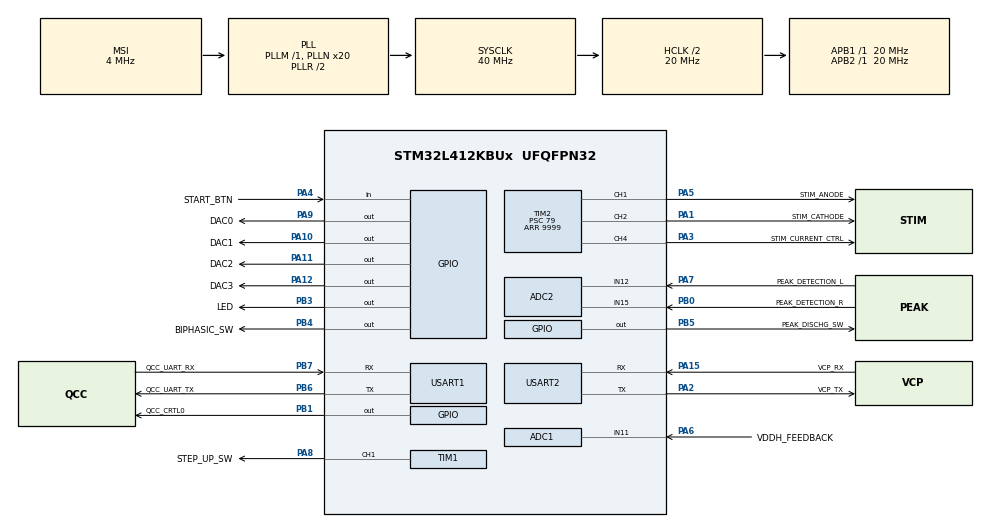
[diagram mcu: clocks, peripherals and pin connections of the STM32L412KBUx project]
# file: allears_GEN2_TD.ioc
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ADC1.AWD1HighThreshold=2600
ADC1.AWD1ITMode=ENABLE
ADC1.Channel-4\#ChannelRegularConversion=ADC_CHANNEL_11
ADC1.ClockPrescaler=ADC_CLOCK_ASYNC_DIV1
ADC1.ContinuousConvMode=ENABLE
ADC1.DMAContinuousRequests=ENABLE
ADC1.EOCSelection=ADC_EOC_SEQ_CONV
ADC1.EnableAnalogWatchDog1=true
ADC1.ExternalTrigConv=ADC_SOFTWARE_START
ADC1.NbrOfConversion=1
ADC1.NbrOfConversionFlag=1
ADC1.Overrun=ADC_OVR_DATA_OVERWRITTEN
ADC1.SamplingTime-4\#ChannelRegularConversion=ADC_SAMPLETIME_47CYCLES_5
ADC1.WatchdogChannel=ADC_CHANNEL_11
ADC1.master=1
ADC2.Channel-0\#ChannelRegularConversion=ADC_CHANNEL_12
ADC2.Channel-1\#ChannelRegularConversion=ADC_CHANNEL_15
ADC2.ContinuousConvMode=ENABLE
ADC2.DMAContinuousRequests=DISABLE
ADC2.EOCSelection=ADC_EOC_SEQ_CONV
ADC2.ExternalTrigConv=ADC_EXTERNALTRIG_T2_TRGO
ADC2.ExternalTrigConvEdge=ADC_EXTERNALTRIGCONVEDGE_FALLING
ADC2.NbrOfConversion=2
ADC2.NbrOfConversionFlag=1
ADC2.OffsetNumber-0\#ChannelRegularConversion=ADC_OFFSET_NONE
ADC2.OffsetNumber-1\#ChannelRegularConversion=ADC_OFFSET_NONE
ADC2.Overrun=ADC_OVR_DATA_PRESERVED
ADC2.Rank-0\#ChannelRegularConversion=1
ADC2.Rank-1\#ChannelRegularConversion=2
ADC2.SamplingTime-0\#ChannelRegularConversion=ADC_SAMPLETIME_247CYCLES_5
ADC2.SamplingTime-1\#ChannelRegularConversion=ADC_SAMPLETIME_247CYCLES_5
Dma.ADC1.2.Direction=DMA_PERIPH_TO_MEMORY
Dma.ADC1.2.Instance=DMA1_Channel1
Dma.ADC1.2.MemDataAlignment=DMA_MDATAALIGN_HALFWORD
Dma.ADC1.2.MemInc=DMA_MINC_ENABLE
Dma.ADC1.2.Mode=DMA_CIRCULAR
Dma.ADC1.2.PeriphDataAlignment=DMA_PDATAALIGN_HALFWORD
Dma.ADC1.2.PeriphInc=DMA_PINC_DISABLE
Dma.ADC1.2.Priority=DMA_PRIORITY_HIGH
Dma.ADC2.3.Direction=DMA_PERIPH_TO_MEMORY
Dma.ADC2.3.Instance=DMA1_Channel2
Dma.ADC2.3.MemDataAlignment=DMA_MDATAALIGN_HALFWORD
Dma.ADC2.3.MemInc=DMA_MINC_ENABLE
Dma.ADC2.3.Mode=DMA_CIRCULAR
Dma.ADC2.3.PeriphDataAlignment=DMA_PDATAALIGN_HALFWORD
Dma.ADC2.3.PeriphInc=DMA_PINC_DISABLE
Dma.ADC2.3.Priority=DMA_PRIORITY_LOW
Dma.Request0=TIM2_CH2/CH4
Dma.Request1=TIM2_CH1
Dma.Request2=ADC1
Dma.Request3=ADC2
Dma.TIM2_CH1.1.Direction=DMA_MEMORY_TO_PERIPH
Dma.TIM2_CH1.1.Instance=DMA1_Channel5
Dma.TIM2_CH1.1.MemDataAlignment=DMA_MDATAALIGN_WORD
Dma.TIM2_CH1.1.MemInc=DMA_MINC_ENABLE
Dma.TIM2_CH1.1.Mode=DMA_CIRCULAR
Dma.TIM2_CH1.1.PeriphDataAlignment=DMA_PDATAALIGN_WORD
Dma.TIM2_CH1.1.PeriphInc=DMA_PINC_DISABLE
Dma.TIM2_CH1.1.Priority=DMA_PRIORITY_LOW
Dma.TIM2_CH2/CH4.0.Direction=DMA_MEMORY_TO_PERIPH
Dma.TIM2_CH2/CH4.0.Instance=DMA1_Channel7
Dma.TIM2_CH2/CH4.0.MemDataAlignment=DMA_MDATAALIGN_WORD
Dma.TIM2_CH2/CH4.0.MemInc=DMA_MINC_ENABLE
Dma.TIM2_CH2/CH4.0.Mode=DMA_CIRCULAR
Dma.TIM2_CH2/CH4.0.PeriphDataAlignment=DMA_PDATAALIGN_WORD
Dma.TIM2_CH2/CH4.0.PeriphInc=DMA_PINC_DISABLE
Dma.TIM2_CH2/CH4.0.Priority=DMA_PRIORITY_LOW
Mcu.Family=STM32L4
Mcu.Name=STM32L412KBUx
Mcu.Package=UFQFPN32
NVIC.ADC1_2_IRQn=true\:1\:0\:true\:false\:true\:true\:true\:true
NVIC.DMA1_Channel2_IRQn=true\:1\:0\:true\:false\:true\:true\:true\:true
NVIC.PriorityGroup=NVIC_PRIORITYGROUP_4
NVIC.TIM1_UP_TIM16_IRQn=true\:2\:0\:true\:false\:true\:true\:true\:true
NVIC.USART1_IRQn=true\:0\:0\:false\:false\:true\:true\:true\:true
NVIC.USART2_IRQn=true\:0\:0\:true\:false\:true\:true\:true\:true
PA0-CK_IN.Mode=SYS_WakeUp0
PA0-CK_IN.Signal=SYS_WKUP1
PA1.GPIO_Label=STIM_CATHODE
PA1.GPIO_PuPd=GPIO_NOPULL
PA1.Signal=S_TIM2_CH2
PA10.GPIO_Label=DAC1
PA10.PinState=GPIO_PIN_SET
PA10.Signal=GPIO_Output
PA11.GPIO_Label=DAC2
PA11.PinState=GPIO_PIN_SET
PA11.Signal=GPIO_Output
PA12.GPIO_Label=DAC3
PA12.PinState=GPIO_PIN_SET
PA12.Signal=GPIO_Output
PA13\ (JTMS/SWDIO).GPIO_Label=SWDIO
PA13\ (JTMS/SWDIO).Mode=Serial_Wire
PA13\ (JTMS/SWDIO).Signal=SYS_JTMS-SWDIO
PA14\ (JTCK/SWCLK).GPIO_Label=SWCLK
PA14\ (JTCK/SWCLK).Mode=Serial_Wire
PA14\ (JTCK/SWCLK).Signal=SYS_JTCK-SWCLK
PA15\ (JTDI).GPIO_Label=VCP_RX
PA15\ (JTDI).Mode=Asynchronous
PA15\ (JTDI).Signal=USART2_RX
PA2.GPIO_Label=VCP_TX
PA2.Mode=Asynchronous
PA2.Signal=USART2_TX
PA3.GPIO_Label=STIM_CURRENT_CTRL
PA3.GPIO_PuPd=GPIO_NOPULL
PA3.Signal=S_TIM2_CH4
PA4.GPIO_Label=START_BTN
PA4.GPIO_PuPd=GPIO_PULLUP
PA4.Signal=GPIO_Input
PA5.GPIO_Label=STIM_ANODE
PA5.GPIO_PuPd=GPIO_NOPULL
PA5.Signal=S_TIM2_CH1
PA6.GPIO_Label=VDDH_FEEDBACK
PA6.GPIO_Mode=GPIO_MODE_ANALOG_ADC_CONTROL
PA6.GPIO_PuPd=GPIO_NOPULL
PA6.Signal=ADCx_IN11
PA7.GPIO_Label=PEAK_DETECTION_L
PA7.Signal=ADCx_IN12
PA8.GPIO_Label=STEP_UP_SW
PA8.Signal=S_TIM1_CH1
PA9.GPIO_Label=DAC0
PA9.PinState=GPIO_PIN_SET
PA9.Signal=GPIO_Output
PB0.GPIO_Label=PEAK_DETECTION_R
PB0.Signal=ADCx_IN15
PB1.GPIO_Label=QCC_CRTL0
PB1.Signal=GPIO_Output
PB3\ (JTDO/TRACESWO).GPIO_Label=LED
PB3\ (JTDO/TRACESWO).Signal=GPIO_Output
PB4\ (NJTRST).GPIO_Label=BIPHASIC_SW
PB4\ (NJTRST).Signal=GPIO_Output
PB5.GPIO_Label=PEAK_DISCHG_SW
PB5.Signal=GPIO_Output
PB6.GPIO_Label=QCC_UART_TX
PB6.Mode=Asynchronous
PB6.Signal=USART1_TX
PB7.GPIO_Label=QCC_UART_RX
PB7.Mode=Asynchronous
PB7.Signal=USART1_RX
PC14-OSC32_IN\ (PC14).Mode=LSE-External-Oscillator
PC14-OSC32_IN\ (PC14).Signal=RCC_OSC32_IN
PC15-OSC32_OUT\ (PC15).Mode=LSE-External-Oscillator
PC15-OSC32_OUT\ (PC15).Signal=RCC_OSC32_OUT
ProjectManager.HeapSize=0x800
ProjectManager.StackSize=0x800
ProjectManager.TargetToolchain=STM32CubeIDE
RCC.ADCFreq_Value=40000000
RCC.AHBCLKDivider=RCC_SYSCLK_DIV2
RCC.AHBFreq_Value=20000000
RCC.APB1Freq_Value=20000000
RCC.APB1TimFreq_Value=20000000
RCC.APB2Freq_Value=20000000
RCC.APB2TimFreq_Value=20000000
RCC.CortexFreq_Value=20000000
RCC.FLatency=FLASH_LATENCY_1
RCC.HCLKFreq_Value=20000000
RCC.HSE_VALUE=8000000
RCC.HSI48_VALUE=48000000
RCC.HSICalibrationValue=16
RCC.HSI_VALUE=16000000
RCC.LSE_Drive_Capability=RCC_LSEDRIVE_LOW
RCC.MSI_VALUE=4000000
RCC.PLLN=20
RCC.SYSCLKFreq_VALUE=40000000
RCC.SYSCLKSource=RCC_SYSCLKSOURCE_PLLCLK
RCC.USBFreq_Value=4000000
RCC.VCOOutputFreq_Value=80000000
SH.ADCx_IN11.0=ADC1_IN11,IN11-Single-Ended
SH.ADCx_IN12.0=ADC2_IN12,IN12-Single-Ended
SH.ADCx_IN15.0=ADC2_IN15,IN15-Single-Ended
SH.S_TIM1_CH1.0=TIM1_CH1,PWM Generation1 CH1
SH.S_TIM2_CH1.0=TIM2_CH1,Output Compare1 CH1
SH.S_TIM2_CH2.0=TIM2_CH2,PWM Generation2 CH2
SH.S_TIM2_CH4.0=TIM2_CH4,Output Compare4 CH4
TIM1.AutoReloadPreload=TIM_AUTORELOAD_PRELOAD_ENABLE
TIM1.Channel-PWM\ Generation1\ CH1=TIM_CHANNEL_1
TIM1.CounterMode=TIM_COUNTERMODE_DOWN
TIM1.Period=2499
TIM1.Prescaler=0
TIM1.Pulse-PWM\ Generation1\ CH1=0
TIM16.AutoReloadPreload=TIM_AUTORELOAD_PRELOAD_ENABLE
TIM16.Period=9999
TIM16.Prescaler=799
TIM2.AutoReloadPreload=TIM_AUTORELOAD_PRELOAD_ENABLE
TIM2.Channel-Output\ Compare1\ CH1=TIM_CHANNEL_1
TIM2.Channel-Output\ Compare4\ CH4=TIM_CHANNEL_4
TIM2.Channel-PWM\ Generation2\ CH2=TIM_CHANNEL_2
TIM2.Channel-PWM\ Generation3\ No\ Output=TIM_CHANNEL_3
TIM2.ClearInputSource=TIM_CLEARINPUTSOURCE_NONE
TIM2.OC1Preload=DISABLE
TIM2.OC2Preload_PWM=ENABLE
TIM2.OC3Preload_PWM=ENABLE
TIM2.OC4Preload=DISABLE
TIM2.OCMode_1=TIM_OCMODE_TOGGLE
TIM2.OCMode_4=TIM_OCMODE_TOGGLE
TIM2.OCPolarity_1=TIM_OCPOLARITY_HIGH
TIM2.OCPolarity_2=TIM_OCPOLARITY_HIGH
TIM2.OCPolarity_4=TIM_OCPOLARITY_HIGH
TIM2.Period=9999
TIM2.Prescaler=79
TIM2.Pulse-Output\ Compare1\ CH1=1200
TIM2.Pulse-Output\ Compare4\ CH4=10
TIM2.Pulse-PWM\ Generation2\ CH2=1100
TIM2.TIM_MasterOutputTrigger=TIM_TRGO_OC3REF
USART1.VirtualMode-Asynchronous=VM_ASYNC
USART2.VirtualMode-Asynchronous=VM_ASYNC
VP_TIM16_VS_ClockSourceINT.Mode=Enable_Timer
VP_TIM2_VS_no_output3.Mode=PWM Generation3 No Output
board=NUCLEO-L412KB

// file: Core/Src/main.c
/* USER CODE BEGIN Header */
/**
 ******************************************************************************
 * @file           : main.c
 * @brief          : Main program body
 ******************************************************************************
 * @attention
 *
 * Copyright (c) 2022 STMicroelectronics.
 * All rights reserved.
 *
 * This software is licensed under terms that can be found in the LICENSE file
 * in the root directory of this software component.
 * If no LICENSE file comes with this software, it is provided AS-IS.
 *
 ******************************************************************************
 */
/* USER CODE END Header */
#include "main.h"

/* USER CODE BEGIN Includes */
#include <stdio.h>
#include <stdbool.h>
#include <td_adc.h>
#include <td_btn.h>
#include <td_led.h>
#include <td_schedule.h>
#include <td_shell.h>
#include <td_stim_setting.h>
#include <td_sys_common.h>
#include <td_sys_fsm_state.h>

/* USER CODE END Includes */

ADC_HandleTypeDef hadc1;
ADC_HandleTypeDef hadc2;
DMA_HandleTypeDef hdma_adc1;
DMA_HandleTypeDef hdma_adc2;

TIM_HandleTypeDef htim1;
TIM_HandleTypeDef htim2;
TIM_HandleTypeDef htim16;
DMA_HandleTypeDef hdma_tim2_ch2_ch4;
DMA_HandleTypeDef hdma_tim2_ch1;

UART_HandleTypeDef huart1;
UART_HandleTypeDef huart2;

/* USER CODE BEGIN PV */
extern pwm_pulse_param_t ex_pwm_param;
/* USER CODE END PV */

void SystemClock_Config(void);
static void MX_GPIO_Init(void);
static void MX_DMA_Init(void);
static void MX_USART1_UART_Init(void);
static void MX_USART2_UART_Init(void);
static void MX_TIM1_Init(void);
static void MX_TIM2_Init(void);
static void MX_TIM16_Init(void);
static void MX_ADC1_Init(void);
static void MX_ADC2_Init(void);

int main(void)
{

	/* MCU Configuration--------------------------------------------------------*/

	/* Reset of all peripherals, Initializes the Flash interface and the Systick. */
	HAL_Init();

	/* Configure the system clock */
	SystemClock_Config();

	/* Initialize all configured peripherals */
	MX_GPIO_Init();
	MX_DMA_Init();
	MX_USART1_UART_Init();
	MX_USART2_UART_Init();
	MX_TIM1_Init();
	MX_TIM2_Init();
	MX_TIM16_Init();
	MX_ADC1_Init();
	MX_ADC2_Init();
	/* USER CODE BEGIN 2 */
	static uint32_t schdule_tick = 0;
	td_PCI_State_Init();

	/* USER CODE END 2 */

	/* Infinite loop */
	while (1)
	{

		/* USER CODE BEGIN 3 */

		td_Shell_CMD_Handle();
		if (HAL_GetTick() - schdule_tick >= TD_SCHED_HANDLE_PERIOD)
		{
			td_Sys_FSM_State_Handle();
			td_Btn_Handle();
			td_LED_Handle();
			td_ADC_Handle();
			td_Shell_Input_Print();
			schdule_tick = HAL_GetTick();
		}

		/*
		 GPIOB->ODR ^= LED_Pin;
		 HAL_Delay(25);
		 */

		/*
		 * POWER SLEEP MODE
		 * HAL_PWR_EnterSLEEPMode(PWR_MAINREGULATOR_ON, PWR_SLEEPENTRY_WFI);
		 */
	}
	/* USER CODE END 3 */
}

void SystemClock_Config(void)
{
	RCC_OscInitTypeDef RCC_OscInitStruct =
	{ 0 };
	RCC_ClkInitTypeDef RCC_ClkInitStruct =
	{ 0 };

	/** Configure the main internal regulator output voltage
	 */
	if (HAL_PWREx_ControlVoltageScaling(PWR_REGULATOR_VOLTAGE_SCALE1) != HAL_OK)
	{
		Error_Handler();
	}

	/** Configure LSE Drive Capability
	 */
	HAL_PWR_EnableBkUpAccess();
	__HAL_RCC_LSEDRIVE_CONFIG(RCC_LSEDRIVE_LOW);

	/** Initializes the RCC Oscillators according to the specified parameters
	 * in the RCC_OscInitTypeDef structure.
	 */
	RCC_OscInitStruct.OscillatorType = RCC_OSCILLATORTYPE_LSE
			| RCC_OSCILLATORTYPE_MSI;
	RCC_OscInitStruct.LSEState = RCC_LSE_ON;
	RCC_OscInitStruct.MSIState = RCC_MSI_ON;
	RCC_OscInitStruct.MSICalibrationValue = 0;
	RCC_OscInitStruct.MSIClockRange = RCC_MSIRANGE_6;
	RCC_OscInitStruct.PLL.PLLState = RCC_PLL_ON;
	RCC_OscInitStruct.PLL.PLLSource = RCC_PLLSOURCE_MSI;
	RCC_OscInitStruct.PLL.PLLM = 1;
	RCC_OscInitStruct.PLL.PLLN = 20;
	RCC_OscInitStruct.PLL.PLLQ = RCC_PLLQ_DIV2;
	RCC_OscInitStruct.PLL.PLLR = RCC_PLLR_DIV2;
	if (HAL_RCC_OscConfig(&RCC_OscInitStruct) != HAL_OK)
	{
		Error_Handler();
	}

	/** Initializes the CPU, AHB and APB buses clocks
	 */
	RCC_ClkInitStruct.ClockType = RCC_CLOCKTYPE_HCLK | RCC_CLOCKTYPE_SYSCLK
			| RCC_CLOCKTYPE_PCLK1 | RCC_CLOCKTYPE_PCLK2;
	RCC_ClkInitStruct.SYSCLKSource = RCC_SYSCLKSOURCE_PLLCLK;
	RCC_ClkInitStruct.AHBCLKDivider = RCC_SYSCLK_DIV2;
	RCC_ClkInitStruct.APB1CLKDivider = RCC_HCLK_DIV1;
	RCC_ClkInitStruct.APB2CLKDivider = RCC_HCLK_DIV1;

	if (HAL_RCC_ClockConfig(&RCC_ClkInitStruct, FLASH_LATENCY_1) != HAL_OK)
	{
		Error_Handler();
	}

	/** Enable MSI Auto calibration
	 */
	HAL_RCCEx_EnableMSIPLLMode();
}

static void MX_ADC1_Init(void)
{

	ADC_MultiModeTypeDef multimode =
	{ 0 };
	ADC_AnalogWDGConfTypeDef AnalogWDGConfig =
	{ 0 };
	ADC_ChannelConfTypeDef sConfig =
	{ 0 };

	/** Common config
	 */
	hadc1.Instance = ADC1;
	hadc1.Init.ClockPrescaler = ADC_CLOCK_ASYNC_DIV1;
	hadc1.Init.Resolution = ADC_RESOLUTION_12B;
	hadc1.Init.DataAlign = ADC_DATAALIGN_RIGHT;
	hadc1.Init.ScanConvMode = ADC_SCAN_DISABLE;
	hadc1.Init.EOCSelection = ADC_EOC_SEQ_CONV;
	hadc1.Init.LowPowerAutoWait = DISABLE;
	hadc1.Init.ContinuousConvMode = ENABLE;
	hadc1.Init.NbrOfConversion = 1;
	hadc1.Init.DiscontinuousConvMode = DISABLE;
	hadc1.Init.ExternalTrigConv = ADC_SOFTWARE_START;
	hadc1.Init.ExternalTrigConvEdge = ADC_EXTERNALTRIGCONVEDGE_NONE;
	hadc1.Init.DMAContinuousRequests = ENABLE;
	hadc1.Init.Overrun = ADC_OVR_DATA_OVERWRITTEN;
	hadc1.Init.OversamplingMode = DISABLE;
	if (HAL_ADC_Init(&hadc1) != HAL_OK)
	{
		Error_Handler();
	}

	/** Configure the ADC multi-mode
	 */
	multimode.Mode = ADC_MODE_INDEPENDENT;
	if (HAL_ADCEx_MultiModeConfigChannel(&hadc1, &multimode) != HAL_OK)
	{
		Error_Handler();
	}

	/** Configure Analog WatchDog 1
	 */
	AnalogWDGConfig.WatchdogNumber = ADC_ANALOGWATCHDOG_1;
	AnalogWDGConfig.WatchdogMode = ADC_ANALOGWATCHDOG_SINGLE_REG;
	AnalogWDGConfig.Channel = ADC_CHANNEL_11;
	AnalogWDGConfig.ITMode = ENABLE;
	AnalogWDGConfig.HighThreshold = 2600;
	AnalogWDGConfig.LowThreshold = 0;
	if (HAL_ADC_AnalogWDGConfig(&hadc1, &AnalogWDGConfig) != HAL_OK)
	{
		Error_Handler();
	}

	/** Configure Regular Channel
	 */
	sConfig.Channel = ADC_CHANNEL_11;
	sConfig.Rank = ADC_REGULAR_RANK_1;
	sConfig.SamplingTime = ADC_SAMPLETIME_47CYCLES_5;
	sConfig.SingleDiff = ADC_SINGLE_ENDED;
	sConfig.OffsetNumber = ADC_OFFSET_NONE;
	sConfig.Offset = 0;
	if (HAL_ADC_ConfigChannel(&hadc1, &sConfig) != HAL_OK)
	{
		Error_Handler();
	}
	/* USER CODE BEGIN ADC1_Init 2 */
	// 2650 == 44 V
	// 2600 == 43.2 V
	/* USER CODE END ADC1_Init 2 */

}

static void MX_ADC2_Init(void)
{

	ADC_ChannelConfTypeDef sConfig =
	{ 0 };

	/** Common config
	 */
	hadc2.Instance = ADC2;
	hadc2.Init.ClockPrescaler = ADC_CLOCK_ASYNC_DIV1;
	hadc2.Init.Resolution = ADC_RESOLUTION_12B;
	hadc2.Init.DataAlign = ADC_DATAALIGN_RIGHT;
	hadc2.Init.ScanConvMode = ADC_SCAN_ENABLE;
	hadc2.Init.EOCSelection = ADC_EOC_SEQ_CONV;
	hadc2.Init.LowPowerAutoWait = DISABLE;
	hadc2.Init.ContinuousConvMode = ENABLE;
	hadc2.Init.NbrOfConversion = 2;
	hadc2.Init.DiscontinuousConvMode = DISABLE;
	hadc2.Init.ExternalTrigConv = ADC_EXTERNALTRIG_T2_TRGO;
	hadc2.Init.ExternalTrigConvEdge = ADC_EXTERNALTRIGCONVEDGE_FALLING;
	hadc2.Init.DMAContinuousRequests = DISABLE;
	hadc2.Init.Overrun = ADC_OVR_DATA_PRESERVED;
	hadc2.Init.OversamplingMode = DISABLE;
	if (HAL_ADC_Init(&hadc2) != HAL_OK)
	{
		Error_Handler();
	}

	/** Configure Regular Channel
	 */
	sConfig.Channel = ADC_CHANNEL_12;
	sConfig.Rank = ADC_REGULAR_RANK_1;
	sConfig.SamplingTime = ADC_SAMPLETIME_247CYCLES_5;
	sConfig.SingleDiff = ADC_SINGLE_ENDED;
	sConfig.OffsetNumber = ADC_OFFSET_NONE;
	sConfig.Offset = 0;
	if (HAL_ADC_ConfigChannel(&hadc2, &sConfig) != HAL_OK)
	{
		Error_Handler();
	}

	/** Configure Regular Channel
	 */
	sConfig.Channel = ADC_CHANNEL_15;
	sConfig.Rank = ADC_REGULAR_RANK_2;
	if (HAL_ADC_ConfigChannel(&hadc2, &sConfig) != HAL_OK)
	{
		Error_Handler();
	}

}

static void MX_TIM1_Init(void)
{

	TIM_MasterConfigTypeDef sMasterConfig =
	{ 0 };
	TIM_OC_InitTypeDef sConfigOC =
	{ 0 };
	TIM_BreakDeadTimeConfigTypeDef sBreakDeadTimeConfig =
	{ 0 };

	htim1.Instance = TIM1;
	htim1.Init.Prescaler = 0;
	htim1.Init.CounterMode = TIM_COUNTERMODE_DOWN;
	htim1.Init.Period = 2499;
	htim1.Init.ClockDivision = TIM_CLOCKDIVISION_DIV1;
	htim1.Init.RepetitionCounter = 0;
	htim1.Init.AutoReloadPreload = TIM_AUTORELOAD_PRELOAD_ENABLE;
	if (HAL_TIM_PWM_Init(&htim1) != HAL_OK)
	{
		Error_Handler();
	}
	sMasterConfig.MasterOutputTrigger = TIM_TRGO_RESET;
	sMasterConfig.MasterOutputTrigger2 = TIM_TRGO2_RESET;
	sMasterConfig.MasterSlaveMode = TIM_MASTERSLAVEMODE_DISABLE;
	if (HAL_TIMEx_MasterConfigSynchronization(&htim1, &sMasterConfig) != HAL_OK)
	{
		Error_Handler();
	}
	sConfigOC.OCMode = TIM_OCMODE_PWM1;
	sConfigOC.Pulse = 0;
	sConfigOC.OCPolarity = TIM_OCPOLARITY_HIGH;
	sConfigOC.OCNPolarity = TIM_OCNPOLARITY_HIGH;
	sConfigOC.OCFastMode = TIM_OCFAST_DISABLE;
	sConfigOC.OCIdleState = TIM_OCIDLESTATE_RESET;
	sConfigOC.OCNIdleState = TIM_OCNIDLESTATE_RESET;
	if (HAL_TIM_PWM_ConfigChannel(&htim1, &sConfigOC, TIM_CHANNEL_1) != HAL_OK)
	{
		Error_Handler();
	}
	sBreakDeadTimeConfig.OffStateRunMode = TIM_OSSR_DISABLE;
	sBreakDeadTimeConfig.OffStateIDLEMode = TIM_OSSI_DISABLE;
	sBreakDeadTimeConfig.LockLevel = TIM_LOCKLEVEL_OFF;
	sBreakDeadTimeConfig.DeadTime = 0;
	sBreakDeadTimeConfig.BreakState = TIM_BREAK_DISABLE;
	sBreakDeadTimeConfig.BreakPolarity = TIM_BREAKPOLARITY_HIGH;
	sBreakDeadTimeConfig.BreakFilter = 0;
	sBreakDeadTimeConfig.Break2State = TIM_BREAK2_DISABLE;
	sBreakDeadTimeConfig.Break2Polarity = TIM_BREAK2POLARITY_HIGH;
	sBreakDeadTimeConfig.Break2Filter = 0;
	sBreakDeadTimeConfig.AutomaticOutput = TIM_AUTOMATICOUTPUT_DISABLE;
	if (HAL_TIMEx_ConfigBreakDeadTime(&htim1, &sBreakDeadTimeConfig) != HAL_OK)
	{
		Error_Handler();
	}
	HAL_TIM_MspPostInit(&htim1);

}

static void MX_TIM2_Init(void)
{

	/* USER CODE BEGIN TIM2_Init 0 */
#if 0
	TIM_MasterConfigTypeDef sMasterConfig =
	{ 0 };
	TIM_OC_InitTypeDef sConfigOC =
	{ 0 };

	// USER CODE BEGIN TIM2_Init 1

	// USER CODE END TIM2_Init 1

	htim2.Instance = TIM2;
	htim2.Init.Prescaler = 79;
	htim2.Init.CounterMode = TIM_COUNTERMODE_UP;
	htim2.Init.Period = 9999;
	htim2.Init.ClockDivision = TIM_CLOCKDIVISION_DIV1;
	htim2.Init.AutoReloadPreload = TIM_AUTORELOAD_PRELOAD_ENABLE;
	if (HAL_TIM_OC_Init(&htim2) != HAL_OK)
	{
		Error_Handler();
	}
	if (HAL_TIM_PWM_Init(&htim2) != HAL_OK)
	{
		Error_Handler();
	}
	sMasterConfig.MasterOutputTrigger = TIM_TRGO_OC3REF;
	sMasterConfig.MasterSlaveMode = TIM_MASTERSLAVEMODE_DISABLE;
	if (HAL_TIMEx_MasterConfigSynchronization(&htim2, &sMasterConfig) != HAL_OK)
	{
		Error_Handler();
	}
	sConfigOC.OCMode = TIM_OCMODE_TOGGLE;
	sConfigOC.Pulse = 1200;
	sConfigOC.OCPolarity = TIM_OCPOLARITY_HIGH;
	sConfigOC.OCFastMode = TIM_OCFAST_DISABLE;
	if (HAL_TIM_OC_ConfigChannel(&htim2, &sConfigOC, TIM_CHANNEL_1) != HAL_OK)
	{
		Error_Handler();
	}
	sConfigOC.OCMode = TIM_OCMODE_PWM1;
	sConfigOC.Pulse = TD_ANODE_PULSE_TIME;
	if (HAL_TIM_PWM_ConfigChannel(&htim2, &sConfigOC, TIM_CHANNEL_2) != HAL_OK)
	{
		Error_Handler();
	}
	sConfigOC.Pulse = 0;
	if (HAL_TIM_PWM_ConfigChannel(&htim2, &sConfigOC, TIM_CHANNEL_3) != HAL_OK)
	{
		Error_Handler();
	}
	sConfigOC.OCMode = TIM_OCMODE_TOGGLE;
	sConfigOC.Pulse = 10;
	if (HAL_TIM_OC_ConfigChannel(&htim2, &sConfigOC, TIM_CHANNEL_4) != HAL_OK)
	{
		Error_Handler();
	}
	// USER CODE BEGIN TIM2_Init 2
	htim2.Instance = TIM2;
	htim2.Init.Prescaler = TD_STIM_PSC;
	htim2.Init.CounterMode = TIM_COUNTERMODE_UP;
	htim2.Init.Period = TD_STIM_ARR;
	htim2.Init.ClockDivision = TIM_CLOCKDIVISION_DIV1;
	htim2.Init.AutoReloadPreload = TIM_AUTORELOAD_PRELOAD_ENABLE;
	if (HAL_TIM_OC_Init(&htim2) != HAL_OK)
	{
		Error_Handler();
	}
	if (HAL_TIM_PWM_Init(&htim2) != HAL_OK)
	{
		Error_Handler();
	}

	sConfigOC.OCMode = TIM_OCMODE_PWM1;
	sConfigOC.Pulse = TD_ANODE_PULSE_TIME;
	if (HAL_TIM_PWM_ConfigChannel(&htim2, &sConfigOC, TIM_CHANNEL_2) != HAL_OK)
	{
		Error_Handler();
	}

	sConfigOC.Pulse = TD_TIM2_ADC2_TRG_TIME;
	if (HAL_TIM_PWM_ConfigChannel(&htim2, &sConfigOC, TIM_CHANNEL_3) != HAL_OK)
	{
		Error_Handler();
	}
	// USER CODE END TIM2_Init 2
	HAL_TIM_MspPostInit(&htim2);
#endif
	/* USER CODE BEGIN TIM2_Init 0 */

	/* USER CODE END TIM2_Init 0 */

	TIM_MasterConfigTypeDef sMasterConfig =
	{ 0 };
	TIM_OC_InitTypeDef sConfigOC =
	{ 0 };

	htim2.Instance = TIM2;
	htim2.Init.Prescaler = 79;
	htim2.Init.CounterMode = TIM_COUNTERMODE_UP;
	htim2.Init.Period = 9999;
	htim2.Init.ClockDivision = TIM_CLOCKDIVISION_DIV1;
	htim2.Init.AutoReloadPreload = TIM_AUTORELOAD_PRELOAD_ENABLE;
	if (HAL_TIM_OC_Init(&htim2) != HAL_OK)
	{
		Error_Handler();
	}
	if (HAL_TIM_PWM_Init(&htim2) != HAL_OK)
	{
		Error_Handler();
	}
	sMasterConfig.MasterOutputTrigger = TIM_TRGO_OC3REF;
	sMasterConfig.MasterSlaveMode = TIM_MASTERSLAVEMODE_DISABLE;
	if (HAL_TIMEx_MasterConfigSynchronization(&htim2, &sMasterConfig) != HAL_OK)
	{
		Error_Handler();
	}
	sConfigOC.OCMode = TIM_OCMODE_TOGGLE;
	sConfigOC.Pulse = 1200;
	sConfigOC.OCPolarity = TIM_OCPOLARITY_HIGH;
	sConfigOC.OCFastMode = TIM_OCFAST_DISABLE;
	if (HAL_TIM_OC_ConfigChannel(&htim2, &sConfigOC, TIM_CHANNEL_1) != HAL_OK)
	{
		Error_Handler();
	}
	sConfigOC.OCMode = TIM_OCMODE_PWM1;
	sConfigOC.Pulse = TD_ANODE_PULSE_TIME;
	if (HAL_TIM_PWM_ConfigChannel(&htim2, &sConfigOC, TIM_CHANNEL_2) != HAL_OK)
	{
		Error_Handler();
	}
	sConfigOC.Pulse = 0;
	if (HAL_TIM_PWM_ConfigChannel(&htim2, &sConfigOC, TIM_CHANNEL_3) != HAL_OK)
	{
		Error_Handler();
	}
	sConfigOC.OCMode = TIM_OCMODE_TOGGLE;
	sConfigOC.Pulse = 10;
	if (HAL_TIM_OC_ConfigChannel(&htim2, &sConfigOC, TIM_CHANNEL_4) != HAL_OK)
	{
		Error_Handler();
	}
	/* USER CODE BEGIN TIM2_Init 2 */
	htim2.Instance = TIM2;
	htim2.Init.Prescaler = TD_STIM_PSC;
	htim2.Init.CounterMode = TIM_COUNTERMODE_UP;
	htim2.Init.Period = TD_STIM_ARR;
	htim2.Init.ClockDivision = TIM_CLOCKDIVISION_DIV1;
	htim2.Init.AutoReloadPreload = TIM_AUTORELOAD_PRELOAD_ENABLE;
	if (HAL_TIM_OC_Init(&htim2) != HAL_OK)
	{
		Error_Handler();
	}
	if (HAL_TIM_PWM_Init(&htim2) != HAL_OK)
	{
		Error_Handler();
	}

	sConfigOC.OCMode = TIM_OCMODE_PWM1;
	sConfigOC.Pulse = TD_ANODE_PULSE_TIME;
	if (HAL_TIM_PWM_ConfigChannel(&htim2, &sConfigOC, TIM_CHANNEL_2) != HAL_OK)
	{
		Error_Handler();
	}

	sConfigOC.Pulse = TD_TIM2_ADC2_TRG_TIME;
	if (HAL_TIM_PWM_ConfigChannel(&htim2, &sConfigOC, TIM_CHANNEL_3) != HAL_OK)
	{
		Error_Handler();
	}

	/* USER CODE END TIM2_Init 2 */
	HAL_TIM_MspPostInit(&htim2);

}

static void MX_TIM16_Init(void)
{

	htim16.Instance = TIM16;
	htim16.Init.Prescaler = 799;
	htim16.Init.CounterMode = TIM_COUNTERMODE_UP;
	htim16.Init.Period = 9999;
	htim16.Init.ClockDivision = TIM_CLOCKDIVISION_DIV1;
	htim16.Init.RepetitionCounter = 0;
	htim16.Init.AutoReloadPreload = TIM_AUTORELOAD_PRELOAD_ENABLE;
	if (HAL_TIM_Base_Init(&htim16) != HAL_OK)
	{
		Error_Handler();
	}
	/* USER CODE BEGIN TIM16_Init 2 */
	htim16.Instance = TIM16;
	htim16.Init.Prescaler = TD_STEPUP_FDBK_PSC;
	htim16.Init.CounterMode = TIM_COUNTERMODE_UP;
	htim16.Init.Period = TD_STEPUP_FDBK_ARR;
	htim16.Init.ClockDivision = TIM_CLOCKDIVISION_DIV1;
	htim16.Init.RepetitionCounter = 0;
	htim16.Init.AutoReloadPreload = TIM_AUTORELOAD_PRELOAD_ENABLE;
	if (HAL_TIM_Base_Init(&htim16) != HAL_OK)
	{
		Error_Handler();
	}
	/* USER CODE END TIM16_Init 2 */

}

static void MX_USART1_UART_Init(void)
{

	huart1.Instance = USART1;
	huart1.Init.BaudRate = 115200;
	huart1.Init.WordLength = UART_WORDLENGTH_8B;
	huart1.Init.StopBits = UART_STOPBITS_1;
	huart1.Init.Parity = UART_PARITY_NONE;
	huart1.Init.Mode = UART_MODE_TX_RX;
	huart1.Init.HwFlowCtl = UART_HWCONTROL_NONE;
	huart1.Init.OverSampling = UART_OVERSAMPLING_16;
	huart1.Init.OneBitSampling = UART_ONE_BIT_SAMPLE_DISABLE;
	huart1.AdvancedInit.AdvFeatureInit = UART_ADVFEATURE_NO_INIT;
	if (HAL_UART_Init(&huart1) != HAL_OK)
	{
		Error_Handler();
	}

}

static void MX_USART2_UART_Init(void)
{

	huart2.Instance = USART2;
	huart2.Init.BaudRate = 115200;
	huart2.Init.WordLength = UART_WORDLENGTH_8B;
	huart2.Init.StopBits = UART_STOPBITS_1;
	huart2.Init.Parity = UART_PARITY_NONE;
	huart2.Init.Mode = UART_MODE_TX_RX;
	huart2.Init.HwFlowCtl = UART_HWCONTROL_NONE;
	huart2.Init.OverSampling = UART_OVERSAMPLING_16;
	huart2.Init.OneBitSampling = UART_ONE_BIT_SAMPLE_DISABLE;
	huart2.AdvancedInit.AdvFeatureInit = UART_ADVFEATURE_NO_INIT;
	if (HAL_UART_Init(&huart2) != HAL_OK)
	{
		Error_Handler();
	}

}

static void MX_DMA_Init(void)
{

	/* DMA controller clock enable */
	__HAL_RCC_DMA1_CLK_ENABLE();

	/* DMA interrupt init */
	/* DMA1_Channel2_IRQn interrupt configuration */
	HAL_NVIC_SetPriority(DMA1_Channel2_IRQn, 1, 0);
	HAL_NVIC_EnableIRQ(DMA1_Channel2_IRQn);

}

static void MX_GPIO_Init(void)
{
	GPIO_InitTypeDef GPIO_InitStruct =
	{ 0 };

	/* GPIO Ports Clock Enable */
	__HAL_RCC_GPIOC_CLK_ENABLE();
	__HAL_RCC_GPIOA_CLK_ENABLE();
	__HAL_RCC_GPIOB_CLK_ENABLE();

	/*Configure GPIO pin Output Level */
	HAL_GPIO_WritePin(GPIOB,
	QCC_CRTL0_Pin | LED_Pin | BIPHASIC_SW_Pin | PEAK_DISCHG_SW_Pin,
			GPIO_PIN_RESET);

	/*Configure GPIO pin Output Level */
	HAL_GPIO_WritePin(GPIOA, DAC0_Pin | DAC1_Pin | DAC2_Pin | DAC3_Pin,
			GPIO_PIN_SET);

	/*Configure GPIO pin : START_BTN_Pin */
	GPIO_InitStruct.Pin = START_BTN_Pin;
	GPIO_InitStruct.Mode = GPIO_MODE_INPUT;
	GPIO_InitStruct.Pull = GPIO_PULLUP;
	HAL_GPIO_Init(START_BTN_GPIO_Port, &GPIO_InitStruct);

	/*Configure GPIO pins : QCC_CRTL0_Pin LED_Pin BIPHASIC_SW_Pin PEAK_DISCHG_SW_Pin */
	GPIO_InitStruct.Pin = QCC_CRTL0_Pin | LED_Pin | BIPHASIC_SW_Pin
			| PEAK_DISCHG_SW_Pin;
	GPIO_InitStruct.Mode = GPIO_MODE_OUTPUT_PP;
	GPIO_InitStruct.Pull = GPIO_NOPULL;
	GPIO_InitStruct.Speed = GPIO_SPEED_FREQ_LOW;
	HAL_GPIO_Init(GPIOB, &GPIO_InitStruct);

	/*Configure GPIO pins : DAC0_Pin DAC1_Pin DAC2_Pin DAC3_Pin */
	GPIO_InitStruct.Pin = DAC0_Pin | DAC1_Pin | DAC2_Pin | DAC3_Pin;
	GPIO_InitStruct.Mode = GPIO_MODE_OUTPUT_PP;
	GPIO_InitStruct.Pull = GPIO_NOPULL;
	GPIO_InitStruct.Speed = GPIO_SPEED_FREQ_LOW;
	HAL_GPIO_Init(GPIOA, &GPIO_InitStruct);

}

void Error_Handler(void)
{
	__disable_irq();
	while (1)
	{
	}
}
